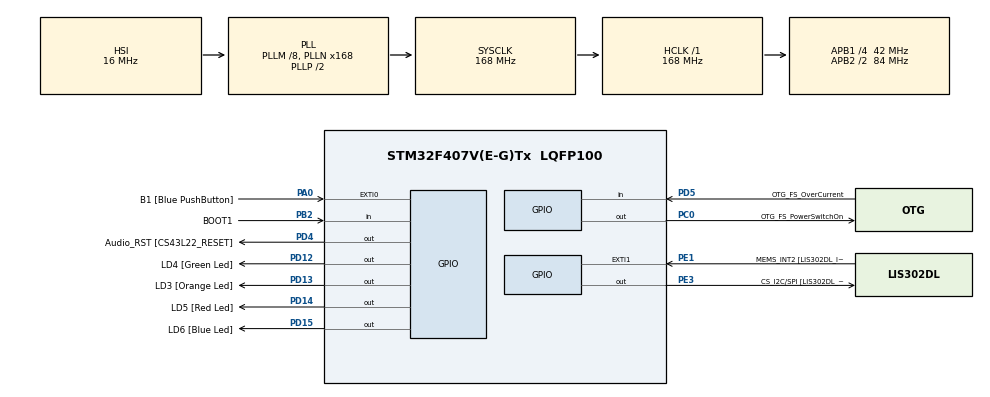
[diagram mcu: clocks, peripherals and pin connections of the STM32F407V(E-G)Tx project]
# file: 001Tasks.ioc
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Mcu.Family=STM32F4
Mcu.Name=STM32F407V(E-G)Tx
Mcu.Package=LQFP100
NVIC.PriorityGroup=NVIC_PRIORITYGROUP_4
NVIC.TIM6_DAC_IRQn=true\:0\:0\:false\:false\:true\:false\:true
NVIC.TimeBase=TIM6_DAC_IRQn
NVIC.TimeBaseIP=TIM6
PA0-WKUP.GPIO_Label=B1 [Blue PushButton]
PA0-WKUP.Signal=GPXTI0
PA10.GPIO_Label=OTG_FS_ID
PA10.GPIO_Mode=GPIO_MODE_AF_PP
PA10.GPIO_PuPd=GPIO_NOPULL
PA10.GPIO_Speed=GPIO_SPEED_FREQ_LOW
PA10.Signal=USB_OTG_FS_ID
PA11.GPIO_Label=OTG_FS_DM
PA11.GPIO_Mode=GPIO_MODE_AF_PP
PA11.GPIO_PuPd=GPIO_NOPULL
PA11.GPIO_Speed=GPIO_SPEED_FREQ_LOW
PA11.Signal=USB_OTG_FS_DM
PA12.GPIO_Label=OTG_FS_DP
PA12.GPIO_Mode=GPIO_MODE_AF_PP
PA12.GPIO_PuPd=GPIO_NOPULL
PA12.GPIO_Speed=GPIO_SPEED_FREQ_LOW
PA12.Signal=USB_OTG_FS_DP
PA13.GPIO_Label=SWDIO
PA13.Signal=SYS_JTMS-SWDIO
PA14.GPIO_Label=SWCLK
PA14.Signal=SYS_JTCK-SWCLK
PA4.GPIO_Label=I2S3_WS [CS43L22_LRCK]
PA4.GPIO_Mode=GPIO_MODE_AF_PP
PA4.GPIO_PuPd=GPIO_NOPULL
PA4.GPIO_Speed=GPIO_SPEED_FREQ_LOW
PA4.Signal=I2S3_WS
PA5.GPIO_Label=SPI1_SCK [LIS302DL_SCL/SPC]
PA5.GPIO_Mode=GPIO_MODE_AF_PP
PA5.GPIO_PuPd=GPIO_NOPULL
PA5.GPIO_Speed=GPIO_SPEED_FREQ_LOW
PA5.Signal=SPI1_SCK
PA6.GPIO_Label=SPI1_MISO [LIS302DL_SDO]
PA6.GPIO_Mode=GPIO_MODE_AF_PP
PA6.GPIO_PuPd=GPIO_NOPULL
PA6.GPIO_Speed=GPIO_SPEED_FREQ_LOW
PA6.Signal=SPI1_MISO
PA7.GPIO_Label=SPI1_MOSI [LIS302DL_SDA/SDI/SDO]
PA7.GPIO_Mode=GPIO_MODE_AF_PP
PA7.GPIO_PuPd=GPIO_NOPULL
PA7.GPIO_Speed=GPIO_SPEED_FREQ_LOW
PA7.Signal=SPI1_MOSI
PA9.GPIO_Label=VBUS_FS
PA9.GPIO_Mode=GPIO_MODE_INPUT
PA9.GPIO_PuPd=GPIO_NOPULL
PA9.Signal=USB_OTG_FS_VBUS
PB10.GPIO_Label=CLK_IN [MP45DT02_CLK]
PB10.GPIO_Mode=GPIO_MODE_AF_PP
PB10.GPIO_PuPd=GPIO_NOPULL
PB10.GPIO_Speed=GPIO_SPEED_FREQ_LOW
PB10.Signal=I2S2_CK
PB2.GPIO_Label=BOOT1
PB2.GPIO_Mode=GPIO_MODE_INPUT
PB2.GPIO_PuPd=GPIO_NOPULL
PB2.Signal=GPIO_Input
PB3.GPIO_Label=SWO
PB3.Signal=SYS_JTDO-SWO
PB6.GPIO_Label=Audio_SCL [CS43L22_SCL]
PB6.GPIO_Mode=GPIO_MODE_AF_OD
PB6.GPIO_PuPd=GPIO_NOPULL
PB6.GPIO_Speed=GPIO_SPEED_FREQ_LOW
PB6.Signal=I2C1_SCL
PB9.GPIO_Label=Audio_SDA [CS43L22_SDA]
PB9.GPIO_Mode=GPIO_MODE_AF_OD
PB9.GPIO_PuPd=GPIO_NOPULL
PB9.GPIO_Speed=GPIO_SPEED_FREQ_LOW
PB9.Signal=I2C1_SDA
PC0.GPIO_Label=OTG_FS_PowerSwitchOn
PC0.GPIO_PuPd=GPIO_NOPULL
PC0.GPIO_Speed=GPIO_SPEED_FREQ_LOW
PC0.PinState=GPIO_PIN_SET
PC0.Signal=GPIO_Output
PC10.GPIO_Label=I2S3_SCK [CS43L22_SCLK]
PC10.GPIO_Mode=GPIO_MODE_AF_PP
PC10.GPIO_PuPd=GPIO_NOPULL
PC10.GPIO_Speed=GPIO_SPEED_FREQ_LOW
PC10.Signal=I2S3_CK
PC12.GPIO_Label=I2S3_SD [CS43L22_SDIN]
PC12.GPIO_Mode=GPIO_MODE_AF_PP
PC12.GPIO_PuPd=GPIO_NOPULL
PC12.GPIO_Speed=GPIO_SPEED_FREQ_LOW
PC12.Signal=I2S3_SD
PC14-OSC32_IN.GPIO_Label=PC14-OSC32_IN
PC14-OSC32_IN.Signal=RCC_OSC32_IN
PC15-OSC32_OUT.GPIO_Label=PC15-OSC32_OUT
PC15-OSC32_OUT.Signal=RCC_OSC32_OUT
PC3.GPIO_Label=PDM_OUT [MP45DT02_DOUT]
PC3.GPIO_Mode=GPIO_MODE_AF_PP
PC3.GPIO_PuPd=GPIO_NOPULL
PC3.GPIO_Speed=GPIO_SPEED_FREQ_LOW
PC3.Signal=I2S2_SD
PC7.GPIO_Label=I2S3_MCK [CS43L22_MCLK]
PC7.GPIO_Mode=GPIO_MODE_AF_PP
PC7.GPIO_PuPd=GPIO_NOPULL
PC7.GPIO_Speed=GPIO_SPEED_FREQ_LOW
PC7.Signal=I2S3_MCK
PD12.GPIO_Label=LD4 [Green Led]
PD12.GPIO_PuPd=GPIO_NOPULL
PD12.GPIO_Speed=GPIO_SPEED_FREQ_LOW
PD12.Signal=GPIO_Output
PD13.GPIO_Label=LD3 [Orange Led]
PD13.GPIO_PuPd=GPIO_NOPULL
PD13.GPIO_Speed=GPIO_SPEED_FREQ_LOW
PD13.Signal=GPIO_Output
PD14.GPIO_Label=LD5 [Red Led]
PD14.GPIO_PuPd=GPIO_NOPULL
PD14.GPIO_Speed=GPIO_SPEED_FREQ_LOW
PD14.Signal=GPIO_Output
PD15.GPIO_Label=LD6 [Blue Led]
PD15.GPIO_PuPd=GPIO_NOPULL
PD15.GPIO_Speed=GPIO_SPEED_FREQ_LOW
PD15.Signal=GPIO_Output
PD4.GPIO_Label=Audio_RST [CS43L22_RESET]
PD4.GPIO_PuPd=GPIO_NOPULL
PD4.GPIO_Speed=GPIO_SPEED_FREQ_LOW
PD4.Signal=GPIO_Output
PD5.GPIO_Label=OTG_FS_OverCurrent
PD5.GPIO_Mode=GPIO_MODE_INPUT
PD5.GPIO_PuPd=GPIO_NOPULL
PD5.Signal=GPIO_Input
PE1.GPIO_Label=MEMS_INT2 [LIS302DL_INT2]
PE1.GPIO_ModeDefaultEXTI=GPIO_MODE_EVT_RISING
PE1.GPIO_PuPd=GPIO_NOPULL
PE1.Signal=GPXTI1
PE3.GPIO_Label=CS_I2C/SPI [LIS302DL_CS_I2C/SPI]
PE3.GPIO_PuPd=GPIO_NOPULL
PE3.GPIO_Speed=GPIO_SPEED_FREQ_LOW
PE3.Signal=GPIO_Output
PH0-OSC_IN.GPIO_Label=PH0-OSC_IN
PH0-OSC_IN.Signal=RCC_OSC_IN
PH1-OSC_OUT.GPIO_Label=PH1-OSC_OUT
PH1-OSC_OUT.Signal=RCC_OSC_OUT
ProjectManager.HeapSize=0x200
ProjectManager.StackSize=0x400
ProjectManager.TargetToolchain=STM32CubeIDE
RCC.48MHZClocksFreq_Value=48000000
RCC.AHBFreq_Value=168000000
RCC.APB1CLKDivider=RCC_HCLK_DIV4
RCC.APB1Freq_Value=42000000
RCC.APB1TimFreq_Value=84000000
RCC.APB2CLKDivider=RCC_HCLK_DIV2
RCC.APB2Freq_Value=84000000
RCC.APB2TimFreq_Value=168000000
RCC.CortexFreq_Value=168000000
RCC.HCLKFreq_Value=168000000
RCC.HSE_VALUE=8000000
RCC.HSI_VALUE=16000000
RCC.LSE_VALUE=32768
RCC.PLLM=8
RCC.PLLN=168
RCC.PLLQ=7
RCC.SYSCLKFreq_VALUE=168000000
RCC.SYSCLKSource=RCC_SYSCLKSOURCE_PLLCLK
RCC.VCOOutputFreq_Value=336000000
VP_SYS_VS_tim6.Mode=TIM6
board=STM32F407G-DISC1

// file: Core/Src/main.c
/* USER CODE BEGIN Header */
/**
  ******************************************************************************
  * @file           : main.c
  * @brief          : Main program body
  ******************************************************************************
  * @attention
  *
  * <h2><center>&copy; Copyright (c) 2021 STMicroelectronics.
  * All rights reserved.</center></h2>
  *
  * This software component is licensed by ST under BSD 3-Clause license,
  * the "License"; You may not use this file except in compliance with the
  * License. You may obtain a copy of the License at:
  *                        opensource.org/licenses/BSD-3-Clause
  *
  ******************************************************************************
  */
/* USER CODE END Header */
#include "main.h"

/* USER CODE BEGIN Includes */
#include "stdio.h"
#include "FreeRTOS.h"
#include "task.h"
/* USER CODE END Includes */

/* USER CODE BEGIN PV */
#define DWT_CTRL	(*(volatile uint32_t*)0xE0001000)
/* USER CODE END PV */

void SystemClock_Config(void);
static void MX_GPIO_Init(void);
/* USER CODE BEGIN PFP */

static void task1_handler(void* parameters);
static void task2_handler(void* parameters);
/* USER CODE END PFP */

int main(void)
{
  /* USER CODE BEGIN 1 */
	TaskHandle_t task1_handle;
	TaskHandle_t task2_handle;

	BaseType_t status;
  /* USER CODE END 1 */

  /* MCU Configuration--------------------------------------------------------*/

  /* Reset of all peripherals, Initializes the Flash interface and the Systick. */
  HAL_Init();

  /* Configure the system clock */
  SystemClock_Config();

  /* Initialize all configured peripherals */
  MX_GPIO_Init();
  /* USER CODE BEGIN 2 */

  // Enable th CYCCNT(Cycle counting) counter.
  DWT_CTRL |= (1<<0); // it sets the 0th bit to 1 on the register.

  // Initialize Segger uart recorder.
  SEGGER_UART_init(500000);// to obtain high baudrate must be sure system clock is set to max value.

  //SEGGER APIs to start the recordings of FreeRTOS application.
  SEGGER_SYSVIEW_Conf();

  // If segger_uart.c has integrated to project this code must be comment line.(It is already called in segger_uart.c)
//  SEGGER_SYSVIEW_Start(); //This function calls before scheduler that is why priority grouping initialization is required!
  	  	  	  	  	  	  //Check out the HAL_MspInit function.

  // Create Tasks
  status = xTaskCreate(task1_handler, "Task-1", 200, "Hello world form Task-1", 2, &task1_handle);

  configASSERT(status == pdPASS);

  status = xTaskCreate(task2_handler, "Task-2", 200, "Hello world form Task-2", 2, &task2_handle);

  configASSERT(status == pdPASS);

  //start the freeRTOS scheduler
  vTaskStartScheduler();

  // if the control comes here, then the launch of the scheduler has failed due to
  // insufficient memory in heap

  /* USER CODE END 2 */

  /* Infinite loop */
  while (1)
  {

  }
}

void SystemClock_Config(void)
{
  RCC_OscInitTypeDef RCC_OscInitStruct = {0};
  RCC_ClkInitTypeDef RCC_ClkInitStruct = {0};

  /** Configure the main internal regulator output voltage
  */
  __HAL_RCC_PWR_CLK_ENABLE();
  __HAL_PWR_VOLTAGESCALING_CONFIG(PWR_REGULATOR_VOLTAGE_SCALE1);
  /** Initializes the RCC Oscillators according to the specified parameters
  * in the RCC_OscInitTypeDef structure.
  */
  RCC_OscInitStruct.OscillatorType = RCC_OSCILLATORTYPE_HSI;
  RCC_OscInitStruct.HSIState = RCC_HSI_ON;
  RCC_OscInitStruct.HSICalibrationValue = RCC_HSICALIBRATION_DEFAULT;
  RCC_OscInitStruct.PLL.PLLState = RCC_PLL_ON;
  RCC_OscInitStruct.PLL.PLLSource = RCC_PLLSOURCE_HSI;
  RCC_OscInitStruct.PLL.PLLM = 8;
  RCC_OscInitStruct.PLL.PLLN = 168;
  RCC_OscInitStruct.PLL.PLLP = RCC_PLLP_DIV2;
  RCC_OscInitStruct.PLL.PLLQ = 7;
  if (HAL_RCC_OscConfig(&RCC_OscInitStruct) != HAL_OK)
  {
    Error_Handler();
  }
  /** Initializes the CPU, AHB and APB buses clocks
  */
  RCC_ClkInitStruct.ClockType = RCC_CLOCKTYPE_HCLK|RCC_CLOCKTYPE_SYSCLK
                              |RCC_CLOCKTYPE_PCLK1|RCC_CLOCKTYPE_PCLK2;
  RCC_ClkInitStruct.SYSCLKSource = RCC_SYSCLKSOURCE_PLLCLK;
  RCC_ClkInitStruct.AHBCLKDivider = RCC_SYSCLK_DIV1;
  RCC_ClkInitStruct.APB1CLKDivider = RCC_HCLK_DIV4;
  RCC_ClkInitStruct.APB2CLKDivider = RCC_HCLK_DIV2;

  if (HAL_RCC_ClockConfig(&RCC_ClkInitStruct, FLASH_LATENCY_5) != HAL_OK)
  {
    Error_Handler();
  }
}

static void MX_GPIO_Init(void)
{
  GPIO_InitTypeDef GPIO_InitStruct = {0};

  /* GPIO Ports Clock Enable */
  __HAL_RCC_GPIOE_CLK_ENABLE();
  __HAL_RCC_GPIOC_CLK_ENABLE();
  __HAL_RCC_GPIOH_CLK_ENABLE();
  __HAL_RCC_GPIOA_CLK_ENABLE();
  __HAL_RCC_GPIOB_CLK_ENABLE();
  __HAL_RCC_GPIOD_CLK_ENABLE();

  /*Configure GPIO pin Output Level */
  HAL_GPIO_WritePin(CS_I2C_SPI_GPIO_Port, CS_I2C_SPI_Pin, GPIO_PIN_RESET);

  /*Configure GPIO pin Output Level */
  HAL_GPIO_WritePin(OTG_FS_PowerSwitchOn_GPIO_Port, OTG_FS_PowerSwitchOn_Pin, GPIO_PIN_SET);

  /*Configure GPIO pin Output Level */
  HAL_GPIO_WritePin(GPIOD, LD4_Pin|LD3_Pin|LD5_Pin|LD6_Pin
                          |Audio_RST_Pin, GPIO_PIN_RESET);

  /*Configure GPIO pin : CS_I2C_SPI_Pin */
  GPIO_InitStruct.Pin = CS_I2C_SPI_Pin;
  GPIO_InitStruct.Mode = GPIO_MODE_OUTPUT_PP;
  GPIO_InitStruct.Pull = GPIO_NOPULL;
  GPIO_InitStruct.Speed = GPIO_SPEED_FREQ_LOW;
  HAL_GPIO_Init(CS_I2C_SPI_GPIO_Port, &GPIO_InitStruct);

  /*Configure GPIO pin : OTG_FS_PowerSwitchOn_Pin */
  GPIO_InitStruct.Pin = OTG_FS_PowerSwitchOn_Pin;
  GPIO_InitStruct.Mode = GPIO_MODE_OUTPUT_PP;
  GPIO_InitStruct.Pull = GPIO_NOPULL;
  GPIO_InitStruct.Speed = GPIO_SPEED_FREQ_LOW;
  HAL_GPIO_Init(OTG_FS_PowerSwitchOn_GPIO_Port, &GPIO_InitStruct);

  /*Configure GPIO pin : PDM_OUT_Pin */
  GPIO_InitStruct.Pin = PDM_OUT_Pin;
  GPIO_InitStruct.Mode = GPIO_MODE_AF_PP;
  GPIO_InitStruct.Pull = GPIO_NOPULL;
  GPIO_InitStruct.Speed = GPIO_SPEED_FREQ_LOW;
  GPIO_InitStruct.Alternate = GPIO_AF5_SPI2;
  HAL_GPIO_Init(PDM_OUT_GPIO_Port, &GPIO_InitStruct);

  /*Configure GPIO pin : B1_Pin */
  GPIO_InitStruct.Pin = B1_Pin;
  GPIO_InitStruct.Mode = GPIO_MODE_IT_RISING;
  GPIO_InitStruct.Pull = GPIO_NOPULL;
  HAL_GPIO_Init(B1_GPIO_Port, &GPIO_InitStruct);

  /*Configure GPIO pin : I2S3_WS_Pin */
  GPIO_InitStruct.Pin = I2S3_WS_Pin;
  GPIO_InitStruct.Mode = GPIO_MODE_AF_PP;
  GPIO_InitStruct.Pull = GPIO_NOPULL;
  GPIO_InitStruct.Speed = GPIO_SPEED_FREQ_LOW;
  GPIO_InitStruct.Alternate = GPIO_AF6_SPI3;
  HAL_GPIO_Init(I2S3_WS_GPIO_Port, &GPIO_InitStruct);

  /*Configure GPIO pins : SPI1_SCK_Pin SPI1_MISO_Pin SPI1_MOSI_Pin */
  GPIO_InitStruct.Pin = SPI1_SCK_Pin|SPI1_MISO_Pin|SPI1_MOSI_Pin;
  GPIO_InitStruct.Mode = GPIO_MODE_AF_PP;
  GPIO_InitStruct.Pull = GPIO_NOPULL;
  GPIO_InitStruct.Speed = GPIO_SPEED_FREQ_LOW;
  GPIO_InitStruct.Alternate = GPIO_AF5_SPI1;
  HAL_GPIO_Init(GPIOA, &GPIO_InitStruct);

  /*Configure GPIO pin : BOOT1_Pin */
  GPIO_InitStruct.Pin = BOOT1_Pin;
  GPIO_InitStruct.Mode = GPIO_MODE_INPUT;
  GPIO_InitStruct.Pull = GPIO_NOPULL;
  HAL_GPIO_Init(BOOT1_GPIO_Port, &GPIO_InitStruct);

  /*Configure GPIO pin : CLK_IN_Pin */
  GPIO_InitStruct.Pin = CLK_IN_Pin;
  GPIO_InitStruct.Mode = GPIO_MODE_AF_PP;
  GPIO_InitStruct.Pull = GPIO_NOPULL;
  GPIO_InitStruct.Speed = GPIO_SPEED_FREQ_LOW;
  GPIO_InitStruct.Alternate = GPIO_AF5_SPI2;
  HAL_GPIO_Init(CLK_IN_GPIO_Port, &GPIO_InitStruct);

  /*Configure GPIO pins : LD4_Pin LD3_Pin LD5_Pin LD6_Pin
                           Audio_RST_Pin */
  GPIO_InitStruct.Pin = LD4_Pin|LD3_Pin|LD5_Pin|LD6_Pin
                          |Audio_RST_Pin;
  GPIO_InitStruct.Mode = GPIO_MODE_OUTPUT_PP;
  GPIO_InitStruct.Pull = GPIO_NOPULL;
  GPIO_InitStruct.Speed = GPIO_SPEED_FREQ_LOW;
  HAL_GPIO_Init(GPIOD, &GPIO_InitStruct);

  /*Configure GPIO pins : I2S3_MCK_Pin I2S3_SCK_Pin I2S3_SD_Pin */
  GPIO_InitStruct.Pin = I2S3_MCK_Pin|I2S3_SCK_Pin|I2S3_SD_Pin;
  GPIO_InitStruct.Mode = GPIO_MODE_AF_PP;
  GPIO_InitStruct.Pull = GPIO_NOPULL;
  GPIO_InitStruct.Speed = GPIO_SPEED_FREQ_LOW;
  GPIO_InitStruct.Alternate = GPIO_AF6_SPI3;
  HAL_GPIO_Init(GPIOC, &GPIO_InitStruct);

  /*Configure GPIO pin : VBUS_FS_Pin */
  GPIO_InitStruct.Pin = VBUS_FS_Pin;
  GPIO_InitStruct.Mode = GPIO_MODE_INPUT;
  GPIO_InitStruct.Pull = GPIO_NOPULL;
  HAL_GPIO_Init(VBUS_FS_GPIO_Port, &GPIO_InitStruct);

  /*Configure GPIO pins : OTG_FS_ID_Pin OTG_FS_DM_Pin OTG_FS_DP_Pin */
  GPIO_InitStruct.Pin = OTG_FS_ID_Pin|OTG_FS_DM_Pin|OTG_FS_DP_Pin;
  GPIO_InitStruct.Mode = GPIO_MODE_AF_PP;
  GPIO_InitStruct.Pull = GPIO_NOPULL;
  GPIO_InitStruct.Speed = GPIO_SPEED_FREQ_LOW;
  GPIO_InitStruct.Alternate = GPIO_AF10_OTG_FS;
  HAL_GPIO_Init(GPIOA, &GPIO_InitStruct);

  /*Configure GPIO pin : OTG_FS_OverCurrent_Pin */
  GPIO_InitStruct.Pin = OTG_FS_OverCurrent_Pin;
  GPIO_InitStruct.Mode = GPIO_MODE_INPUT;
  GPIO_InitStruct.Pull = GPIO_NOPULL;
  HAL_GPIO_Init(OTG_FS_OverCurrent_GPIO_Port, &GPIO_InitStruct);

  /*Configure GPIO pins : Audio_SCL_Pin Audio_SDA_Pin */
  GPIO_InitStruct.Pin = Audio_SCL_Pin|Audio_SDA_Pin;
  GPIO_InitStruct.Mode = GPIO_MODE_AF_OD;
  GPIO_InitStruct.Pull = GPIO_PULLUP;
  GPIO_InitStruct.Speed = GPIO_SPEED_FREQ_LOW;
  GPIO_InitStruct.Alternate = GPIO_AF4_I2C1;
  HAL_GPIO_Init(GPIOB, &GPIO_InitStruct);

  /*Configure GPIO pin : MEMS_INT2_Pin */
  GPIO_InitStruct.Pin = MEMS_INT2_Pin;
  GPIO_InitStruct.Mode = GPIO_MODE_EVT_RISING;
  GPIO_InitStruct.Pull = GPIO_NOPULL;
  HAL_GPIO_Init(MEMS_INT2_GPIO_Port, &GPIO_InitStruct);

}

/* USER CODE BEGIN 4 */
static void task1_handler(void* parameters)
{
	char msg[100];
	while(1)
	{
		sprintf(msg,100,"%s\n",(char*)parameters);
		SEGGER_SYSVIEW_PrintfTarget(msg);
		taskYIELD(); // it release the processor when task-1 done for one time
	}
}

static void task2_handler(void* parameters)
{
	char msg[100];
	while(1)
	{
		sprintf(msg,100,"%s\n",(char*)parameters);
		SEGGER_SYSVIEW_PrintfTarget(msg);
		taskYIELD(); // it release the processor when task-2 done for one time
	}
}
/* USER CODE END 4 */

 /**
  * @brief  Period elapsed callback in non blocking mode
  * @note   This function is called  when TIM6 interrupt took place, inside
  * HAL_TIM_IRQHandler(). It makes a direct call to HAL_IncTick() to increment
  * a global variable "uwTick" used as application time base.
  * @param  htim : TIM handle
  * @retval None
  */
void HAL_TIM_PeriodElapsedCallback(TIM_HandleTypeDef *htim)
{
  if (htim->Instance == TIM6) {
    HAL_IncTick();
  }
}

void Error_Handler(void)
{
  __disable_irq();
  while (1)
  {
  }
}

/************************ (C) COPYRIGHT STMicroelectronics *****END OF FILE****/
